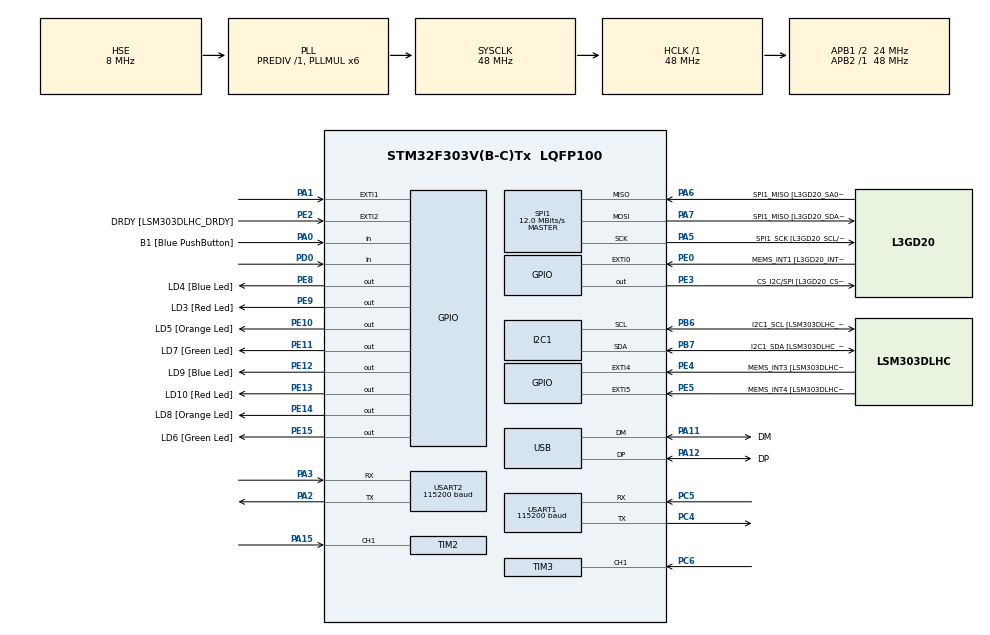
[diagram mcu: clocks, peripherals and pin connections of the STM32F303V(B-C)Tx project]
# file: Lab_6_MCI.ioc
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I2C1.Timing=0x00201D2B
I2C1.Timing-I2C=0x2000090E
Mcu.Family=STM32F3
Mcu.Name=STM32F303V(B-C)Tx
Mcu.Package=LQFP100
NVIC.EXTI1_IRQn=true\:0\:0\:false\:false\:true\:true\:true\:true
NVIC.PriorityGroup=NVIC_PRIORITYGROUP_0
NVIC.TIM2_IRQn=true\:0\:0\:false\:false\:true\:true\:true\:true
PA0.GPIO_Label=B1 [Blue PushButton]
PA0.Signal=GPIO_Input
PA1.Signal=GPXTI1
PA11.GPIO_Label=DM
PA11.Mode=Device
PA11.Signal=USB_DM
PA12.GPIO_Label=DP
PA12.Mode=Device
PA12.Signal=USB_DP
PA13.GPIO_Label=SWDIO
PA13.Mode=Serial_Wire
PA13.Signal=SYS_JTMS-SWDIO
PA14.GPIO_Label=SWCLK
PA14.Mode=Serial_Wire
PA14.Signal=SYS_JTCK-SWCLK
PA15.Signal=S_TIM2_CH1_ETR
PA2.Mode=Asynchronous
PA2.Signal=USART2_TX
PA3.Mode=Asynchronous
PA3.Signal=USART2_RX
PA5.GPIO_Label=SPI1_SCK [L3GD20_SCL/SPC]
PA5.Mode=Full_Duplex_Master
PA5.Signal=SPI1_SCK
PA6.GPIO_Label=SPI1_MISO [L3GD20_SA0/SDO]
PA6.Mode=Full_Duplex_Master
PA6.Signal=SPI1_MISO
PA7.GPIO_Label=SPI1_MISO [L3GD20_SDA/SDI/SDO]
PA7.Mode=Full_Duplex_Master
PA7.Signal=SPI1_MOSI
PB3.GPIO_Label=SWO
PB3.Signal=SYS_JTDO-TRACESWO
PB6.GPIO_Label=I2C1_SCL [LSM303DLHC_SCL]
PB6.GPIO_Pu=GPIO_PULLUP
PB6.Mode=I2C
PB6.Signal=I2C1_SCL
PB7.GPIO_Label=I2C1_SDA [LSM303DLHC_SDA]
PB7.GPIO_Pu=GPIO_PULLUP
PB7.Mode=I2C
PB7.Signal=I2C1_SDA
PC14-OSC32_IN.GPIO_Label=OSC32_IN
PC14-OSC32_IN.Signal=RCC_OSC32_IN
PC15-OSC32_OUT.GPIO_Label=OSC32_OUT
PC15-OSC32_OUT.Signal=RCC_OSC32_OUT
PC4.Mode=Asynchronous
PC4.Signal=USART1_TX
PC5.Mode=Asynchronous
PC5.Signal=USART1_RX
PC6.Signal=S_TIM3_CH1
PD0.Signal=GPIO_Input
PE0.GPIO_Label=MEMS_INT1 [L3GD20_INT1]
PE0.GPIO_ModeDefaultEXTI=GPIO_MODE_EVT_RISING
PE0.Signal=GPXTI0
PE10.GPIO_Label=LD5 [Orange Led]
PE10.Signal=GPIO_Output
PE11.GPIO_Label=LD7 [Green Led]
PE11.Signal=GPIO_Output
PE12.GPIO_Label=LD9 [Blue Led]
PE12.Signal=GPIO_Output
PE13.GPIO_Label=LD10 [Red Led]
PE13.Signal=GPIO_Output
PE14.GPIO_Label=LD8 [Orange Led]
PE14.Signal=GPIO_Output
PE15.GPIO_Label=LD6 [Green Led]
PE15.Signal=GPIO_Output
PE2.GPIO_Label=DRDY [LSM303DLHC_DRDY]
PE2.GPIO_ModeDefaultEXTI=GPIO_MODE_EVT_RISING
PE2.Signal=GPXTI2
PE3.GPIO_Label=CS_I2C/SPI [L3GD20_CS_I2C/SPI]
PE3.Signal=GPIO_Output
PE4.GPIO_Label=MEMS_INT3 [LSM303DLHC_INT1]
PE4.GPIO_ModeDefaultEXTI=GPIO_MODE_EVT_RISING
PE4.Signal=GPXTI4
PE5.GPIO_Label=MEMS_INT4 [LSM303DLHC_INT2]
PE5.GPIO_ModeDefaultEXTI=GPIO_MODE_EVT_RISING
PE5.Signal=GPXTI5
PE8.GPIO_Label=LD4 [Blue Led]
PE8.Signal=GPIO_Output
PE9.GPIO_Label=LD3 [Red Led]
PE9.Signal=GPIO_Output
PF0-OSC_IN.GPIO_Label=OSC_IN
PF0-OSC_IN.Mode=HSE-External-Clock-Source
PF0-OSC_IN.Signal=RCC_OSC_IN
PF1-OSC_OUT.GPIO_Label=OSC_OUT
PF1-OSC_OUT.Signal=RCC_OSC_OUT
ProjectManager.HeapSize=0x200
ProjectManager.StackSize=0x400
ProjectManager.TargetToolchain=CMake
RCC.AHBFreq_Value=48000000
RCC.APB1CLKDivider=RCC_HCLK_DIV2
RCC.APB1Freq_Value=24000000
RCC.APB1TimFreq_Value=48000000
RCC.APB2Freq_Value=48000000
RCC.APB2TimFreq_Value=48000000
RCC.CortexFreq_Value=48000000
RCC.HCLKFreq_Value=48000000
RCC.HSE_VALUE=8000000
RCC.HSI_VALUE=8000000
RCC.LSE_VALUE=32768
RCC.PLLMUL=RCC_PLL_MUL6
RCC.SYSCLKFreq_VALUE=48000000
RCC.SYSCLKSourceVirtual=RCC_SYSCLKSOURCE_PLLCLK
RCC.USBFreq_Value=48000000
SH.S_TIM2_CH1_ETR.0=TIM2_CH1,Input_Capture1_from_TI1
SH.S_TIM3_CH1.0=TIM3_CH1,Input_Capture1_from_TI1
SPI1.BaudRatePrescaler=SPI_BAUDRATEPRESCALER_4
SPI1.BaudRatePrescaler-Full_Duplex_Master=SPI_BAUDRATEPRESCALER_2
SPI1.CalculateBaudRate=12.0 MBits/s
SPI1.CalculateBaudRate-Full_Duplex_Master=24.0 MBits/s
SPI1.Direction=SPI_DIRECTION_2LINES
SPI1.Mode=SPI_MODE_MASTER
SPI1.Mode-Full_Duplex_Master=SPI_MODE_MASTER
SPI1.VirtualType=VM_MASTER
TIM2.Channel-Input_Capture1_from_TI1=TIM_CHANNEL_1
TIM2.Prescaler=71
TIM3.Channel-Input_Capture1_from_TI1=TIM_CHANNEL_1
TIM3.Prescaler=47
USART1.BaudRate=115200
USART1.VirtualMode-Asynchronous=VM_ASYNC
USART2.BaudRate=115200
USART2.VirtualMode-Asynchronous=VM_ASYNC
VP_TIM2_VS_ClockSourceINT.Mode=Internal
board=STM32F3DISCOVERY

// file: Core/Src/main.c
/* USER CODE BEGIN Header */
/**
  ******************************************************************************
  * @file           : main.c
  * @brief          : Main program body
  ******************************************************************************
  * @attention
  *
  * Copyright (c) 2025 STMicroelectronics.
  * All rights reserved.
  *
  * This software is licensed under terms that can be found in the LICENSE file
  * in the root directory of this software component.
  * If no LICENSE file comes with this software, it is proided AS-IS.
  *
  ******************************************************************************
  */
/* USER CODE END Header */
#include "main.h"
#include "stdio.h"
TIM_HandleTypeDef htim3;
UART_HandleTypeDef huart2;
#define PPR 20  // update based on your encoder specification

int _write(int file, char *ptr, int len) {
    HAL_UART_Transmit(&huart2, (uint8_t*)ptr, len, HAL_MAX_DELAY);
    return len;
}

I2C_HandleTypeDef hi2c1;

SPI_HandleTypeDef hspi1;

TIM_HandleTypeDef htim2;
TIM_HandleTypeDef htim3;

UART_HandleTypeDef huart1;
UART_HandleTypeDef huart2;

PCD_HandleTypeDef hpcd_USB_FS;

void SystemClock_Config(void);
static void MX_GPIO_Init(void);
static void MX_I2C1_Init(void);
static void MX_SPI1_Init(void);
static void MX_TIM2_Init(void);
static void MX_USB_PCD_Init(void);
static void MX_USART1_UART_Init(void);
static void MX_USART2_UART_Init(void);
static void MX_TIM3_Init(void);

int main(void)
{

  /* MCU Configuration--------------------------------------------------------*/

  /* Reset of all peripherals, Initializes the Flash interface and the Systick. */
  HAL_Init();

  /* Configure the system clock */
  SystemClock_Config();

  /* Initialize all configured peripherals */
  HAL_GPIO_WritePin(GPIOA, GPIO_PIN_8, GPIO_PIN_SET);   // IN1 = HIGH
HAL_GPIO_WritePin(GPIOA, GPIO_PIN_9, GPIO_PIN_RESET); // IN2 = LOW

  MX_GPIO_Init();
  MX_I2C1_Init();
  MX_SPI1_Init();
  MX_TIM2_Init();
  MX_USB_PCD_Init();
  MX_USART1_UART_Init();
  MX_USART2_UART_Init();
  MX_TIM3_Init();
  /* USER CODE BEGIN 2 */
//   if (HAL_UART_Init(&huart2) != HAL_OK)
// {
//     printf("UART Init Failed\r\n");
// }
// else
// {
//     printf("UART Init Success\r\n");
// }

// printf("USART2 working...\r\n");
// HAL_Delay(100);
  /* USER CODE END 2 */

  /* Infinite loop */
  /* USER CODE BEGIN WHILE */
<<<<<<< HEAD

  HAL_TIM_PWM_Start(&htim2, TIM_CHANNEL_1);

  HAL_TIM_Base_Start(&htim3);
   // Set motor speed
  __HAL_TIM_SET_COMPARE(&htim2, TIM_CHANNEL_1, 500); // 50% duty
    printf("Encoder Polling Test Start\r\n");

    uint32_t t1 = 0, t2 = 0;
    uint32_t captured_ticks = 0;
    float frequency = 0.0;
    float rpm = 0.0;
    uint8_t prev_state = 0, curr_state = 0;

    while (1)
    {
        // Read current encoder signal
        curr_state = HAL_GPIO_ReadPin(GPIOD, GPIO_PIN_0);

        // Detect falling edge (1 -> 0)
        if (prev_state == 1 && curr_state == 0)
        {
            if (t1 == 0)
            {
                __HAL_TIM_SET_COUNTER(&htim3, 0); // start timing
                t1 = 1;
            }
            else
            {
                t2 = __HAL_TIM_GET_COUNTER(&htim3);
                __HAL_TIM_SET_COUNTER(&htim3, 0); // reset timer for next cycle

                captured_ticks = t2; // time between two pulses in microseconds
                frequency = 1000000.0 / captured_ticks;  // since 1 tick = 1 µs
                rpm = (60.0 * frequency) / PPR;

                printf("Freq: %.2f Hz | RPM: %.2f\r\n", frequency, rpm);

                HAL_Delay(200);
            }
        }

        prev_state = curr_state;
    }
=======
  HAL_TIM_IC_Start_IT(&htim2, TIM_CHANNEL_1);

  while (1)
  {
    /* USER CODE END WHILE */
    // printf("USART2 working...\r\n");
    /* USER CODE BEGIN 3 */
  }
>>>>>>> 030defd (Added mci_final_labs files)
  /* USER CODE END 3 */
}

void SystemClock_Config(void)
{
  RCC_OscInitTypeDef RCC_OscInitStruct = {0};
  RCC_ClkInitTypeDef RCC_ClkInitStruct = {0};
  RCC_PeriphCLKInitTypeDef PeriphClkInit = {0};

  /** Initializes the RCC Oscillators according to the specified parameters
  * in the RCC_OscInitTypeDef structure.
  */
  RCC_OscInitStruct.OscillatorType = RCC_OSCILLATORTYPE_HSI|RCC_OSCILLATORTYPE_HSE;
  RCC_OscInitStruct.HSEState = RCC_HSE_BYPASS;
  RCC_OscInitStruct.HSEPredivValue = RCC_HSE_PREDIV_DIV1;
  RCC_OscInitStruct.HSIState = RCC_HSI_ON;
  RCC_OscInitStruct.HSICalibrationValue = RCC_HSICALIBRATION_DEFAULT;
  RCC_OscInitStruct.PLL.PLLState = RCC_PLL_ON;
  RCC_OscInitStruct.PLL.PLLSource = RCC_PLLSOURCE_HSE;
  RCC_OscInitStruct.PLL.PLLMUL = RCC_PLL_MUL6;
  if (HAL_RCC_OscConfig(&RCC_OscInitStruct) != HAL_OK)
  {
    Error_Handler();
  }

  /** Initializes the CPU, AHB and APB buses clocks
  */
  RCC_ClkInitStruct.ClockType = RCC_CLOCKTYPE_HCLK|RCC_CLOCKTYPE_SYSCLK
                              |RCC_CLOCKTYPE_PCLK1|RCC_CLOCKTYPE_PCLK2;
  RCC_ClkInitStruct.SYSCLKSource = RCC_SYSCLKSOURCE_PLLCLK;
  RCC_ClkInitStruct.AHBCLKDivider = RCC_SYSCLK_DIV1;
  RCC_ClkInitStruct.APB1CLKDivider = RCC_HCLK_DIV2;
  RCC_ClkInitStruct.APB2CLKDivider = RCC_HCLK_DIV1;

  if (HAL_RCC_ClockConfig(&RCC_ClkInitStruct, FLASH_LATENCY_1) != HAL_OK)
  {
    Error_Handler();
  }
  PeriphClkInit.PeriphClockSelection = RCC_PERIPHCLK_USB|RCC_PERIPHCLK_USART1
                              |RCC_PERIPHCLK_USART2|RCC_PERIPHCLK_I2C1;
  PeriphClkInit.Usart1ClockSelection = RCC_USART1CLKSOURCE_PCLK2;
  PeriphClkInit.Usart2ClockSelection = RCC_USART2CLKSOURCE_PCLK1;
  PeriphClkInit.I2c1ClockSelection = RCC_I2C1CLKSOURCE_HSI;
  PeriphClkInit.USBClockSelection = RCC_USBCLKSOURCE_PLL;
  if (HAL_RCCEx_PeriphCLKConfig(&PeriphClkInit) != HAL_OK)
  {
    Error_Handler();
  }
}

static void MX_I2C1_Init(void)
{

  hi2c1.Instance = I2C1;
  hi2c1.Init.Timing = 0x00201D2B;
  hi2c1.Init.OwnAddress1 = 0;
  hi2c1.Init.AddressingMode = I2C_ADDRESSINGMODE_7BIT;
  hi2c1.Init.DualAddressMode = I2C_DUALADDRESS_DISABLE;
  hi2c1.Init.OwnAddress2 = 0;
  hi2c1.Init.OwnAddress2Masks = I2C_OA2_NOMASK;
  hi2c1.Init.GeneralCallMode = I2C_GENERALCALL_DISABLE;
  hi2c1.Init.NoStretchMode = I2C_NOSTRETCH_DISABLE;
  if (HAL_I2C_Init(&hi2c1) != HAL_OK)
  {
    Error_Handler();
  }

  /** Configure Analogue filter
  */
  if (HAL_I2CEx_ConfigAnalogFilter(&hi2c1, I2C_ANALOGFILTER_ENABLE) != HAL_OK)
  {
    Error_Handler();
  }

  /** Configure Digital filter
  */
  if (HAL_I2CEx_ConfigDigitalFilter(&hi2c1, 0) != HAL_OK)
  {
    Error_Handler();
  }

}

static void MX_SPI1_Init(void)
{

  /* SPI1 parameter configuration*/
  hspi1.Instance = SPI1;
  hspi1.Init.Mode = SPI_MODE_MASTER;
  hspi1.Init.Direction = SPI_DIRECTION_2LINES;
  hspi1.Init.DataSize = SPI_DATASIZE_4BIT;
  hspi1.Init.CLKPolarity = SPI_POLARITY_LOW;
  hspi1.Init.CLKPhase = SPI_PHASE_1EDGE;
  hspi1.Init.NSS = SPI_NSS_SOFT;
  hspi1.Init.BaudRatePrescaler = SPI_BAUDRATEPRESCALER_4;
  hspi1.Init.FirstBit = SPI_FIRSTBIT_MSB;
  hspi1.Init.TIMode = SPI_TIMODE_DISABLE;
  hspi1.Init.CRCCalculation = SPI_CRCCALCULATION_DISABLE;
  hspi1.Init.CRCPolynomial = 7;
  hspi1.Init.CRCLength = SPI_CRC_LENGTH_DATASIZE;
  hspi1.Init.NSSPMode = SPI_NSS_PULSE_ENABLE;
  if (HAL_SPI_Init(&hspi1) != HAL_OK)
  {
    Error_Handler();
  }

}

static void MX_TIM2_Init(void)
{

  TIM_ClockConfigTypeDef sClockSourceConfig = {0};
  TIM_MasterConfigTypeDef sMasterConfig = {0};
  TIM_IC_InitTypeDef sConfigIC = {0};

  htim2.Instance = TIM2;
  htim2.Init.Prescaler = 71;
  htim2.Init.CounterMode = TIM_COUNTERMODE_UP;
  htim2.Init.Period = 4294967295;
  htim2.Init.ClockDivision = TIM_CLOCKDIVISION_DIV1;
  htim2.Init.AutoReloadPreload = TIM_AUTORELOAD_PRELOAD_DISABLE;
  if (HAL_TIM_Base_Init(&htim2) != HAL_OK)
  {
    Error_Handler();
  }
  sClockSourceConfig.ClockSource = TIM_CLOCKSOURCE_INTERNAL;
  if (HAL_TIM_ConfigClockSource(&htim2, &sClockSourceConfig) != HAL_OK)
  {
    Error_Handler();
  }
  if (HAL_TIM_IC_Init(&htim2) != HAL_OK)
  {
    Error_Handler();
  }
  sMasterConfig.MasterOutputTrigger = TIM_TRGO_RESET;
  sMasterConfig.MasterSlaveMode = TIM_MASTERSLAVEMODE_DISABLE;
  if (HAL_TIMEx_MasterConfigSynchronization(&htim2, &sMasterConfig) != HAL_OK)
  {
    Error_Handler();
  }
  sConfigIC.ICPolarity = TIM_INPUTCHANNELPOLARITY_RISING;
  sConfigIC.ICSelection = TIM_ICSELECTION_DIRECTTI;
  sConfigIC.ICPrescaler = TIM_ICPSC_DIV1;
  sConfigIC.ICFilter = 0;
  if (HAL_TIM_IC_ConfigChannel(&htim2, &sConfigIC, TIM_CHANNEL_1) != HAL_OK)
  {
    Error_Handler();
  }

}

static void MX_TIM3_Init(void)
{

  TIM_MasterConfigTypeDef sMasterConfig = {0};
  TIM_IC_InitTypeDef sConfigIC = {0};

  htim3.Instance = TIM3;
  htim3.Init.Prescaler = 47;
  htim3.Init.CounterMode = TIM_COUNTERMODE_UP;
  htim3.Init.Period = 65535;
  htim3.Init.ClockDivision = TIM_CLOCKDIVISION_DIV1;
  htim3.Init.AutoReloadPreload = TIM_AUTORELOAD_PRELOAD_DISABLE;
  if (HAL_TIM_IC_Init(&htim3) != HAL_OK)
  {
    Error_Handler();
  }
  sMasterConfig.MasterOutputTrigger = TIM_TRGO_RESET;
  sMasterConfig.MasterSlaveMode = TIM_MASTERSLAVEMODE_DISABLE;
  if (HAL_TIMEx_MasterConfigSynchronization(&htim3, &sMasterConfig) != HAL_OK)
  {
    Error_Handler();
  }
  sConfigIC.ICPolarity = TIM_INPUTCHANNELPOLARITY_RISING;
  sConfigIC.ICSelection = TIM_ICSELECTION_DIRECTTI;
  sConfigIC.ICPrescaler = TIM_ICPSC_DIV1;
  sConfigIC.ICFilter = 0;
  if (HAL_TIM_IC_ConfigChannel(&htim3, &sConfigIC, TIM_CHANNEL_1) != HAL_OK)
  {
    Error_Handler();
  }

}

static void MX_USART1_UART_Init(void)
{

  huart1.Instance = USART1;
  huart1.Init.BaudRate = 115200;
  huart1.Init.WordLength = UART_WORDLENGTH_8B;
  huart1.Init.StopBits = UART_STOPBITS_1;
  huart1.Init.Parity = UART_PARITY_NONE;
  huart1.Init.Mode = UART_MODE_TX_RX;
  huart1.Init.HwFlowCtl = UART_HWCONTROL_NONE;
  huart1.Init.OverSampling = UART_OVERSAMPLING_16;
  huart1.Init.OneBitSampling = UART_ONE_BIT_SAMPLE_DISABLE;
  huart1.AdvancedInit.AdvFeatureInit = UART_ADVFEATURE_NO_INIT;
  if (HAL_UART_Init(&huart1) != HAL_OK)
  {
    Error_Handler();
  }

}

static void MX_USART2_UART_Init(void)
{

  huart2.Instance = USART2;
  huart2.Init.BaudRate = 115200;
  huart2.Init.WordLength = UART_WORDLENGTH_8B;
  huart2.Init.StopBits = UART_STOPBITS_1;
  huart2.Init.Parity = UART_PARITY_NONE;
  huart2.Init.Mode = UART_MODE_TX_RX;
  huart2.Init.HwFlowCtl = UART_HWCONTROL_NONE;
  huart2.Init.OverSampling = UART_OVERSAMPLING_16;
  huart2.Init.OneBitSampling = UART_ONE_BIT_SAMPLE_DISABLE;
  huart2.AdvancedInit.AdvFeatureInit = UART_ADVFEATURE_NO_INIT;
  if (HAL_UART_Init(&huart2) != HAL_OK)
  {
    Error_Handler();
  }

}

static void MX_USB_PCD_Init(void)
{

  hpcd_USB_FS.Instance = USB;
  hpcd_USB_FS.Init.dev_endpoints = 8;
  hpcd_USB_FS.Init.speed = PCD_SPEED_FULL;
  hpcd_USB_FS.Init.phy_itface = PCD_PHY_EMBEDDED;
  hpcd_USB_FS.Init.low_power_enable = DISABLE;
  hpcd_USB_FS.Init.battery_charging_enable = DISABLE;
  if (HAL_PCD_Init(&hpcd_USB_FS) != HAL_OK)
  {
    Error_Handler();
  }

}

static void MX_GPIO_Init(void)
{
  GPIO_InitTypeDef GPIO_InitStruct = {0};

  /* GPIO Ports Clock Enable */
  __HAL_RCC_GPIOE_CLK_ENABLE();
  __HAL_RCC_GPIOC_CLK_ENABLE();
  __HAL_RCC_GPIOF_CLK_ENABLE();
  __HAL_RCC_GPIOA_CLK_ENABLE();
  __HAL_RCC_GPIOD_CLK_ENABLE();
  __HAL_RCC_GPIOB_CLK_ENABLE();

  /*Configure GPIO pin Output Level */
  HAL_GPIO_WritePin(GPIOE, CS_I2C_SPI_Pin|LD4_Pin|LD3_Pin|LD5_Pin
                          |LD7_Pin|LD9_Pin|LD10_Pin|LD8_Pin
                          |LD6_Pin, GPIO_PIN_RESET);

  /*Configure GPIO pins : DRDY_Pin MEMS_INT3_Pin MEMS_INT4_Pin MEMS_INT1_Pin */
  GPIO_InitStruct.Pin = DRDY_Pin|MEMS_INT3_Pin|MEMS_INT4_Pin|MEMS_INT1_Pin;
  GPIO_InitStruct.Mode = GPIO_MODE_EVT_RISING;
  GPIO_InitStruct.Pull = GPIO_NOPULL;
  HAL_GPIO_Init(GPIOE, &GPIO_InitStruct);

  /*Configure GPIO pins : CS_I2C_SPI_Pin LD4_Pin LD3_Pin LD5_Pin
                           LD7_Pin LD9_Pin LD10_Pin LD8_Pin
                           LD6_Pin */
  GPIO_InitStruct.Pin = CS_I2C_SPI_Pin|LD4_Pin|LD3_Pin|LD5_Pin
                          |LD7_Pin|LD9_Pin|LD10_Pin|LD8_Pin
                          |LD6_Pin;
  GPIO_InitStruct.Mode = GPIO_MODE_OUTPUT_PP;
  GPIO_InitStruct.Pull = GPIO_NOPULL;
  GPIO_InitStruct.Speed = GPIO_SPEED_FREQ_LOW;
  HAL_GPIO_Init(GPIOE, &GPIO_InitStruct);

  /*Configure GPIO pin : B1_Pin */
  GPIO_InitStruct.Pin = B1_Pin;
  GPIO_InitStruct.Mode = GPIO_MODE_INPUT;
  GPIO_InitStruct.Pull = GPIO_NOPULL;
  HAL_GPIO_Init(B1_GPIO_Port, &GPIO_InitStruct);

  /*Configure GPIO pin : PA1 */
  GPIO_InitStruct.Pin = GPIO_PIN_1;
  GPIO_InitStruct.Mode = GPIO_MODE_IT_RISING;
  GPIO_InitStruct.Pull = GPIO_NOPULL;
  HAL_GPIO_Init(GPIOA, &GPIO_InitStruct);

  /*Configure GPIO pin : PD0 */
  GPIO_InitStruct.Pin = GPIO_PIN_0;
  GPIO_InitStruct.Mode = GPIO_MODE_INPUT;
  GPIO_InitStruct.Pull = GPIO_NOPULL;
  HAL_GPIO_Init(GPIOD, &GPIO_InitStruct);

  /* EXTI interrupt init*/
  HAL_NVIC_SetPriority(EXTI1_IRQn, 0, 0);
  HAL_NVIC_EnableIRQ(EXTI1_IRQn);

}

void Error_Handler(void)
{
  __disable_irq();
  while (1)
  {
  }
}
